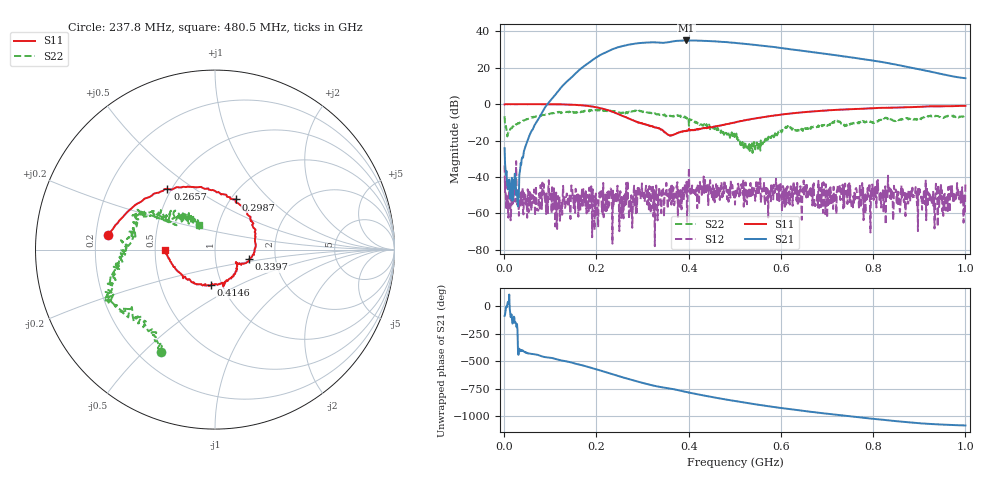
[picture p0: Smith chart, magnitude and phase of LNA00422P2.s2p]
! Created with skrf 1.9.0 (http://scikit-rf.org).
# Hz S RI R 50.0
!freq ReS11 ImS11 ReS21 ImS21 ReS12 ImS12 ReS22 ImS22
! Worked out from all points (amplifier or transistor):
!   1001 points, 1 MHz to 1 GHz, reference 50 ohm
!   highest |S21| = 35.1 dB at 394.6 MHz (marker M1)
!   |S21| within 3 dB of that: 257.9 MHz to 563.2 MHz (305.3 MHz wide, 74.4 % of centre)
!   unconditionally stable (mu >= 1): 18.6 MHz to 57.12 MHz; 267.9 MHz to 400.1 MHz; 400.9 MHz to end of sweep (the widest 3 of 37)
!   at 166.8 MHz: K = 1.64, MAG = 31.8 dB, |S12| = -53.4 dB
!   at 500.5 MHz: K = 5.31, MAG = 34.3 dB, |S12| = -55.3 dB
!   at 1 GHz: K = 1.61, MAG = 24.0 dB, |S12| = -43.0 dB
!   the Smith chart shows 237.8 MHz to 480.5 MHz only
!   S11 on the Smith chart (normalised r, x): 237.8 MHz: 0.25, +0.07; 265.7 MHz: 0.47, +0.40; 298.7 MHz: 1.06, +0.65; 339.7 MHz: 1.46, -0.16; 414.6 MHz: 0.88, -0.37; 480.5 MHz: 0.56, -0.00
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1000000  0.9853 0.00309  0.000616 -0.0616  -0.0159 0.0133  0.3025 0.3552
1.08892e8  0.5253 -0.8444  -0.7728 -1.511  0.00171 0.000417  0.4383 -0.357
1.67833e8  -0.2312 -0.8988  -9.836 -0.7167  0.00225 -9.1e-05  0.0762 -0.6267
2.08792e8  -0.664 -0.399  -15.99 15.98  0.00182 -0.00256  -0.1904 -0.655
2.37763e8  -0.5948 0.0832  -4.336 33.34  -0.00276 0.000185  -0.2994 -0.5724
2.65735e8  -0.2649 0.3395  19.39 37.26  -0.00079 0.00201  -0.4523 -0.4002
2.98702e8  0.1166 0.2796  43.96 20.41  -0.000149 0.00663  -0.595 -0.2245
3.17683e8  0.2103 0.1307  49.83 4.095  -0.000989 0.000198  -0.5647 -0.1452
3.34666e8  0.2159 -0.0191  48.81 -9.542  0.00111 0.00124  -0.5173 -0.0518
3.39661e8  0.1911 -0.0523  47.57 -12.73  0.0018 -0.00106  -0.5292 -0.0048
3.69631e8  0.1238 -0.0821  44.03 -32.03  -0.00178 0.000974  -0.4415 0.155
3.94606e8  0.0728 -0.1698  29.1 -48.62  0.00215 0.00266  -0.3886 0.2004
4.14586e8  -0.0231 -0.1991  13.47 -54.6  0.00361 0.00338  -0.2595 0.1608
4.45555e8  -0.1739 -0.1516  -10.37 -53.35  0.00186 0.00429  -0.1588 0.1665
4.8052e8  -0.281 -0.00194  -30.88 -40.84  0.00364 0.00517  -0.0874 0.1381
5.005e8  -0.2947 0.1099  -38.28 -30.46  0.00067 -0.00159  -0.0863 0.1116
5.4046e8  -0.2352 0.3202  -42.17 -8.955  0.00304 -0.00131  -0.0646 0.0063
5.88412e8  -0.0453 0.4907  -35.08 11.09  0.00357 -0.00267  -0.1183 -0.0862
6.67333e8  0.3262 0.5375  -13.42 23.44  4.14e-05 -0.00418  -0.2263 -0.0591
7.53247e8  0.6271 0.3733  3.697 18.9  -0.00135 0.000704  -0.285 0.0141
8.34166e8  0.7852 0.1487  9.713 9.171  0.00263 -0.00413  -0.3845 0.054
1e9  0.8197 -0.3733  5.17 -0.2209  -0.00277 0.00651  -0.2597 0.3911
